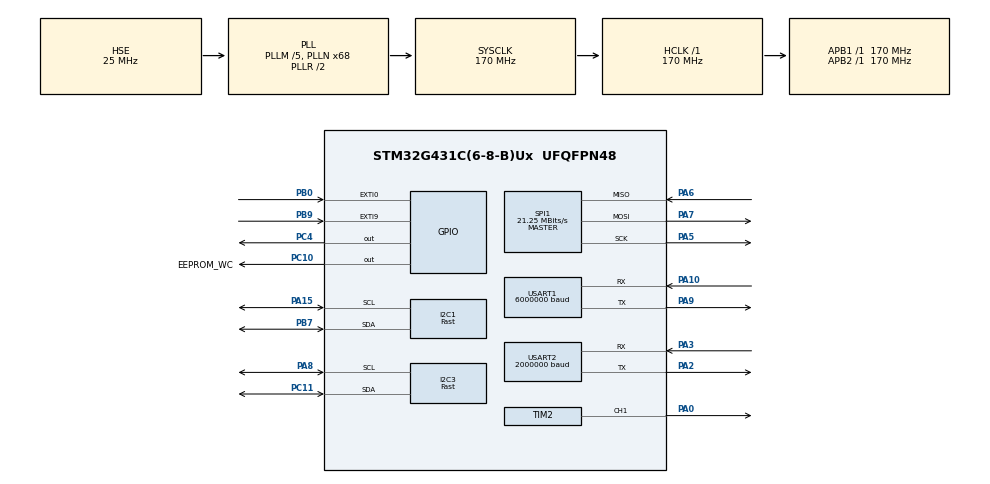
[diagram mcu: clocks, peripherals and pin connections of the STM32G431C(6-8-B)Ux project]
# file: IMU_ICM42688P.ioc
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Dma.Request0=USART1_RX
Dma.Request1=USART2_RX
Dma.USART1_RX.0.Direction=DMA_PERIPH_TO_MEMORY
Dma.USART1_RX.0.EventEnable=DISABLE
Dma.USART1_RX.0.Instance=DMA1_Channel1
Dma.USART1_RX.0.MemDataAlignment=DMA_MDATAALIGN_BYTE
Dma.USART1_RX.0.MemInc=DMA_MINC_ENABLE
Dma.USART1_RX.0.Mode=DMA_NORMAL
Dma.USART1_RX.0.PeriphDataAlignment=DMA_PDATAALIGN_BYTE
Dma.USART1_RX.0.PeriphInc=DMA_PINC_DISABLE
Dma.USART1_RX.0.Polarity=HAL_DMAMUX_REQ_GEN_RISING
Dma.USART1_RX.0.Priority=DMA_PRIORITY_LOW
Dma.USART1_RX.0.RequestNumber=1
Dma.USART1_RX.0.SignalID=NONE
Dma.USART1_RX.0.SyncEnable=DISABLE
Dma.USART1_RX.0.SyncPolarity=HAL_DMAMUX_SYNC_NO_EVENT
Dma.USART1_RX.0.SyncRequestNumber=1
Dma.USART1_RX.0.SyncSignalID=NONE
Dma.USART2_RX.1.Direction=DMA_PERIPH_TO_MEMORY
Dma.USART2_RX.1.EventEnable=DISABLE
Dma.USART2_RX.1.Instance=DMA1_Channel2
Dma.USART2_RX.1.MemDataAlignment=DMA_MDATAALIGN_BYTE
Dma.USART2_RX.1.MemInc=DMA_MINC_ENABLE
Dma.USART2_RX.1.Mode=DMA_NORMAL
Dma.USART2_RX.1.PeriphDataAlignment=DMA_PDATAALIGN_BYTE
Dma.USART2_RX.1.PeriphInc=DMA_PINC_DISABLE
Dma.USART2_RX.1.Polarity=HAL_DMAMUX_REQ_GEN_RISING
Dma.USART2_RX.1.Priority=DMA_PRIORITY_LOW
Dma.USART2_RX.1.RequestNumber=1
Dma.USART2_RX.1.SignalID=NONE
Dma.USART2_RX.1.SyncEnable=DISABLE
Dma.USART2_RX.1.SyncPolarity=HAL_DMAMUX_SYNC_NO_EVENT
Dma.USART2_RX.1.SyncRequestNumber=1
Dma.USART2_RX.1.SyncSignalID=NONE
I2C1.I2C_Speed_Mode=I2C_Fast
I2C1.Timing=0x40621236
I2C3.I2C_Speed_Mode=I2C_Fast
I2C3.Timing=0x40621236
Mcu.Family=STM32G4
Mcu.Name=STM32G431C(6-8-B)Ux
Mcu.Package=UFQFPN48
NVIC.DMA1_Channel1_IRQn=true\:0\:0\:false\:false\:true\:false\:true\:true
NVIC.DMA1_Channel2_IRQn=true\:0\:0\:false\:false\:true\:false\:true\:true
NVIC.EXTI0_IRQn=true\:0\:0\:false\:false\:true\:true\:true\:true
NVIC.EXTI9_5_IRQn=true\:0\:0\:false\:false\:true\:true\:true\:true
NVIC.PriorityGroup=NVIC_PRIORITYGROUP_4
NVIC.TIM3_IRQn=true\:0\:0\:false\:false\:true\:true\:true\:true
NVIC.USART1_IRQn=true\:0\:0\:false\:false\:true\:true\:true\:true
NVIC.USART2_IRQn=true\:0\:0\:false\:false\:true\:true\:true\:true
PA0.Signal=S_TIM2_CH1
PA10.Mode=Asynchronous
PA10.Signal=USART1_RX
PA13.Mode=Serial_Wire
PA13.Signal=SYS_JTMS-SWDIO
PA14.Mode=Serial_Wire
PA14.Signal=SYS_JTCK-SWCLK
PA15.Mode=I2C
PA15.Signal=I2C1_SCL
PA2.Mode=Asynchronous
PA2.Signal=USART2_TX
PA3.Mode=Asynchronous
PA3.Signal=USART2_RX
PA5.Mode=Full_Duplex_Master
PA5.Signal=SPI1_SCK
PA6.Mode=Full_Duplex_Master
PA6.Signal=SPI1_MISO
PA7.Mode=Full_Duplex_Master
PA7.Signal=SPI1_MOSI
PA8.Mode=I2C
PA8.Signal=I2C3_SCL
PA9.Mode=Asynchronous
PA9.Signal=USART1_TX
PB0.GPIO_ModeDefaultEXTI=GPIO_MODE_IT_FALLING
PB0.GPIO_PuPd=GPIO_PULLUP
PB0.Signal=GPXTI0
PB7.Mode=I2C
PB7.Signal=I2C1_SDA
PB9.Signal=GPXTI9
PC10.GPIO_Label=EEPROM_WC
PC10.Signal=GPIO_Output
PC11.Mode=I2C
PC11.Signal=I2C3_SDA
PC4.Signal=GPIO_Output
PF0-OSC_IN.Mode=HSE-External-Clock-Source
PF0-OSC_IN.Signal=RCC_OSC_IN
ProjectManager.HeapSize=0x200
ProjectManager.StackSize=0x400
ProjectManager.TargetToolchain=CMake
RCC.ADC12Freq_Value=170000000
RCC.AHBFreq_Value=170000000
RCC.APB1Freq_Value=170000000
RCC.APB1TimFreq_Value=170000000
RCC.APB2Freq_Value=170000000
RCC.APB2TimFreq_Value=170000000
RCC.CortexFreq_Value=170000000
RCC.EXTERNAL_CLOCK_VALUE=12288000
RCC.HCLKFreq_Value=170000000
RCC.HSE_VALUE=25000000
RCC.HSI48_VALUE=48000000
RCC.HSI_VALUE=16000000
RCC.LSE_VALUE=32768
RCC.PLLM=RCC_PLLM_DIV5
RCC.PLLN=68
RCC.PLLSourceVirtual=RCC_PLLSOURCE_HSE
RCC.PWR_Regulator_Voltage_Scale=PWR_REGULATOR_VOLTAGE_SCALE1_BOOST
RCC.SYSCLKFreq_VALUE=170000000
RCC.SYSCLKSource=RCC_SYSCLKSOURCE_PLLCLK
RCC.USBFreq_Value=170000000
RCC.VCOOutputFreq_Value=340000000
SH.S_TIM2_CH1.0=TIM2_CH1,PWM Generation1 CH1
SPI1.BaudRatePrescaler=SPI_BAUDRATEPRESCALER_8
SPI1.CLKPhase=SPI_PHASE_1EDGE
SPI1.CLKPolarity=SPI_POLARITY_LOW
SPI1.CalculateBaudRate=21.25 MBits/s
SPI1.DataSize=SPI_DATASIZE_8BIT
SPI1.Direction=SPI_DIRECTION_2LINES
SPI1.Mode=SPI_MODE_MASTER
SPI1.VirtualType=VM_MASTER
TIM2.Channel-PWM\ Generation1\ CH1=TIM_CHANNEL_1
TIM2.PeriodNoDither=5187
TIM2.Prescaler=0
TIM3.PeriodNoDither=65535
TIM3.Prescaler=170-1
USART1.BaudRate=6000000
USART1.VirtualMode-Asynchronous=VM_ASYNC
USART2.BaudRate=2000000
USART2.VirtualMode-Asynchronous=VM_ASYNC
VP_LPTIM1_VS_LPTIM_counterModeInternalClock.Mode=Counts__internal_clock_event_00
VP_SYS_VS_DBSignals.Mode=DisableDeadBatterySignals
VP_TIM3_VS_ClockSourceINT.Mode=Internal
board=custom

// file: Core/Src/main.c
/* USER CODE BEGIN Header */
/**
 ******************************************************************************
 * @file           : main.c
 * @brief          : Main program body
 ******************************************************************************
 * @attention
 *
 * Copyright (c) 2024 STMicroelectronics.
 * All rights reserved.
 *
 * This software is licensed under terms that can be found in the LICENSE file
 * in the root directory of this software component.
 * If no LICENSE file comes with this software, it is provided AS-IS.
 *
 ******************************************************************************
 */
/* USER CODE END Header */
#include "main.h"

/* USER CODE BEGIN Includes */
#include "ICM-42688P.h"
#include "ICM42688P_Config.h"
#include "IMU.h"
// #include "ICM42688P_Test.h"  // 测试程序（需要时取消注释）
#include "stm32g4xx_hal_uart.h"
#include <stdint.h>
#include <stdio.h>
#include <string.h>

/* USER CODE END Includes */

I2C_HandleTypeDef hi2c1;
I2C_HandleTypeDef hi2c3;

LPTIM_HandleTypeDef hlptim1;

SPI_HandleTypeDef hspi1;

TIM_HandleTypeDef htim2;
TIM_HandleTypeDef htim3;

UART_HandleTypeDef huart1;
UART_HandleTypeDef huart2;
DMA_HandleTypeDef hdma_usart1_rx;
DMA_HandleTypeDef hdma_usart2_rx;

void SystemClock_Config(void);
static void MX_GPIO_Init(void);
static void MX_DMA_Init(void);
static void MX_SPI1_Init(void);
static void MX_TIM2_Init(void);
static void MX_USART1_UART_Init(void);
static void MX_USART2_UART_Init(void);
static void MX_TIM3_Init(void);
static void MX_I2C1_Init(void);
static void MX_I2C3_Init(void);
static void MX_LPTIM1_Init(void);

/* USER CODE BEGIN 0 */
unsigned char timertag = 0;
unsigned char txbuffer[200], rxhandledata[100];
uint64_t timestamp = 0, previousTimestamp = 0;
IMU_Data imudata;
uint16_t timer_count = 0;
// 测试用配置结构体（需要运行测试时取消注释）
ICM42688P_Config ReadAllConfig;
ICM42688P_Config TestConfig;

void HAL_UARTEx_RxEventCallback(UART_HandleTypeDef *huart, uint16_t Size)
{
    if (huart == &huart1)
    {
        // TODO: 实现新的数据输出逻辑
    }
    else if (huart == &huart2)
    {
        // TODO: 实现新的数据输出逻辑
    }
}

/* USER CODE END 0 */

int main(void)
{

  /* USER CODE BEGIN 1 */
    // uint8_t rxbuffer[10];
    // uint8_t txbuffer[100];
    // uint8_t databuffer = 5;
    // uint8_t cont = 0;
    // float valx = 0.0f, valy = 0.0f, valz = 0.0f;
    // uint16_t timer_count = 0;
    // uint8_t rx[12];
    // 测试用变量（需要运行测试时取消注释）
    uint8_t regbuffer[4096];
    uint16_t size = 0;

  /* USER CODE END 1 */

  /* MCU Configuration--------------------------------------------------------*/

  /* Reset of all peripherals, Initializes the Flash interface and the Systick. */
  HAL_Init();

  /* Configure the system clock */
  SystemClock_Config();

  /* Initialize all configured peripherals */
  MX_GPIO_Init();
  MX_DMA_Init();
  MX_SPI1_Init();
  MX_TIM2_Init();
  MX_USART1_UART_Init();
  MX_USART2_UART_Init();
  MX_TIM3_Init();
  MX_I2C1_Init();
  MX_I2C3_Init();
  MX_LPTIM1_Init();
  /* USER CODE BEGIN 2 */
    cs_high();
    HAL_NVIC_DisableIRQ(EXTI0_IRQn);
    HAL_NVIC_DisableIRQ(EXTI9_5_IRQn);
    IMU_Set_UART(&huart1);
    HAL_TIM_PWM_Start(&htim2, TIM_CHANNEL_1);
    __HAL_TIM_SET_COMPARE(&htim2, TIM_CHANNEL_1, 2594);
    HAL_TIM_Base_Start(&htim3);

    HAL_UARTEx_ReceiveToIdle_DMA(&huart1, rxhandledata, 40);
    __HAL_DMA_DISABLE_IT(&hdma_usart1_rx, DMA_IT_HT);
    HAL_UARTEx_ReceiveToIdle_DMA(&huart2, rxhandledata, 40);
    __HAL_DMA_DISABLE_IT(&hdma_usart2_rx, DMA_IT_HT);

    // ICM42688P_Init();
    // HAL_Delay(10);
    if (IMU_Init() == 0)
    {
        HAL_UART_Transmit(&huart1, (const unsigned char *)"ICM42688P Init Success\n", strlen("ICM42688P Init Success\n"), 0xff);
    }
    else
    {
        HAL_UART_Transmit(&huart1, (const unsigned char *)"ICM42688P Init Failed\n", strlen("ICM42688P Init Failed\n"), 0xff);
    }

    // ========================================================================
    // 测试程序（需要验证库修改时取消注释）
    // 测试文件: Core/Src/ICM42688P_Test.c
    // 存档位置: doc/tests/
    // ========================================================================
    // HAL_UART_Transmit(&huart2, (const unsigned char *)"\r\n启动测试验证...\r\n",
    //                   strlen("\r\n启动测试验证...\r\n"), 1000);
    // HAL_Delay(100);
    //
    // // 运行完整测试（如需快速验证可改为 ICM42688P_RunQuickTest）
    // ICM42688P_RunAllTests();
    //
    // // 可选：打印最终配置状态
    // ICM42688P_ReadAllConfigRegisters(&ReadAllConfig);
    // size = ICM42688P_FormatRegisters(&ReadAllConfig, (char *)regbuffer, 4096);
    // HAL_UART_Transmit(&huart1, (const unsigned char *)"\r\n=== 最终配置状态 ===\r\n",
    //                   strlen("\r\n=== 最终配置状态 ===\r\n"), 1000);
    // HAL_UART_Transmit(&huart1, (const unsigned char *)regbuffer, size, 1000);

    HAL_NVIC_EnableIRQ(EXTI0_IRQn);
    HAL_NVIC_EnableIRQ(EXTI9_5_IRQn);
    // ========================================================================

    // ICM42688P_ReadIMUData(&imudata);

    // HAL_TIM_Base_Start_IT(&htim3);

    // ICM42688P_Bank_Select(0);
    // timer_count = __HAL_TIM_GET_COUNTER(&htim3);
    // //ICM42688P_Software_Reset();
    // //ICM42688P_ReadIMUData(&imudata);
    // ICM42688P_ReadRegister(0x1F, rx, 20);
    // timer_count = __HAL_TIM_GET_COUNTER(&htim3) - timer_count;
    // sprintf((char *)txbuffer, "Software Reset Time:%d us\n", timer_count);
    // HAL_UART_Transmit(&huart2, (const unsigned char *)txbuffer, strlen((const char *)txbuffer), 0xff);
  /* USER CODE END 2 */

  /* Infinite loop */
  /* USER CODE BEGIN WHILE */
    while (1)
    {
        // ========================================================================
        // 统一的IMU+磁力计数据采集输出（中断驱动模式）
        // ICM42688P中断：EXTI0_IRQHandler → IMU_InterruptHandle() [1kHz]
        // BMM350中断：EXTI9_5_IRQHandler → IMU_MagInterruptHandle() [400Hz]
        // ========================================================================
        // if (timertag == 1) {
        //     // ICM42688P数据就绪（1kHz），准备发送数据包

        //     // 检查是否有新的磁力计数据
        //     if (imudata.mag_data_ready) {
        //         // 有新的磁力计数据，清除标志
        //         imudata.mag_data_ready = 0;
        //     } else {
        //         // 无新磁力计数据，将磁力计字段置0
        //         imudata.mag_x = 0.0f;
        //         imudata.mag_y = 0.0f;
        //         imudata.mag_z = 0.0f;
        //         imudata.mag_temperature = 0.0f;
        //         imudata.mag_timestamp = 0;
        //     }

        //     // 格式化IMU+磁力计数据输出
        //     // 格式: "IMU:ax,ay,az,gx,gy,gz,temp,imu_ts,mx,my,mz,mag_temp,mag_ts\r\n"
        //     int len = sprintf((char *)txbuffer,
        //                    "IMU:%.6f,%.6f,%.6f,%.6f,%.6f,%.6f,%.2f,%u,%.2f,%.2f,%.2f,%.2f,%u\r\n",
        //                    imudata.accel_x,        // 加速度 X (g)
        //                    imudata.accel_y,        // 加速度 Y (g)
        //                    imudata.accel_z,        // 加速度 Z (g)
        //                    imudata.gyro_x,         // 陀螺仪 X (dps)
        //                    imudata.gyro_y,         // 陀螺仪 Y (dps)
        //                    imudata.gyro_z,         // 陀螺仪 Z (dps)
        //                    imudata.temperature,    // IMU温度 (°C)
        //                    imudata.timestamp,      // IMU时间戳 (μs)
        //                    imudata.mag_x,          // 磁场 X (μT)
        //                    imudata.mag_y,          // 磁场 Y (μT)
        //                    imudata.mag_z,          // 磁场 Z (μT)
        //                    imudata.mag_temperature,// 磁力计温度 (°C)
        //                    imudata.mag_timestamp); // 磁力计时间戳 (μs)

        //     // 通过 UART1 发送数据
        //     HAL_UART_Transmit(&huart1, txbuffer, len, 0xff);

        //     // 清除标志
        //     timertag = 0;
        // }
        // ========================================================================
        // HAL_UART_Transmit(&huart1, (const unsigned char *)"Hello, World!", 13, 0xff);
        // HAL_Delay(100);

        // sprintf((char *)txbuffer, "Temperature:%f\n",
        // ICM42688P_GetTemperature()); HAL_UART_Transmit(&huart2, (const unsigned
        // char *)txbuffer,
        //                   strlen((const char *)txbuffer), 0xff);
        // HAL_Delay(100);
        // if (timertag == 1) {
        //   cont++;
        //   // valx += imudata.gyro_x;
        //   // valy += imudata.gyro_y;
        //   // valz += imudata.gyro_z;
        //   valx += imudata.accel_x;
        //   valy += imudata.accel_y;
        //   valz += imudata.accel_z;
        //   if (cont == 255) {

        //     valx /= 256;
        //     valy /= 256;
        //     valz /= 256;
        //     sprintf((char *)txbuffer, "IMUData:%f,%f,%f\n", valx, valy, valz);
        //     HAL_UART_Transmit(&huart2, (const unsigned char *)txbuffer,
        //                       strlen((const char *)txbuffer), 0xff);
        //     cont = 0;
        //     valx = 0;
        //   }
        //   // sprintf((char *)txbuffer, "IMUData:%lf,%lf,%lf,%lf\n", imudata.q0,
        //   //         imudata.q1, imudata.q2, imudata.q3);
        //   // HAL_UART_Transmit(&huart2, (const unsigned char *)txbuffer,
        //   //                   strlen((const char *)txbuffer), 0xff);
        // }
        // HAL_UART_Transmit(&huart2, (const uint8_t *)"Hello, World!", 13, 0xff);
        // HAL_Delay(100);
        // ICM42688P_ReadIMUData(&imudata);

    /* USER CODE END WHILE */

    }
}

void SystemClock_Config(void)
{
  RCC_OscInitTypeDef RCC_OscInitStruct = {0};
  RCC_ClkInitTypeDef RCC_ClkInitStruct = {0};

  /** Configure the main internal regulator output voltage
  */
  HAL_PWREx_ControlVoltageScaling(PWR_REGULATOR_VOLTAGE_SCALE1_BOOST);

  /** Initializes the RCC Oscillators according to the specified parameters
  * in the RCC_OscInitTypeDef structure.
  */
  RCC_OscInitStruct.OscillatorType = RCC_OSCILLATORTYPE_HSE;
  RCC_OscInitStruct.HSEState = RCC_HSE_BYPASS;
  RCC_OscInitStruct.PLL.PLLState = RCC_PLL_ON;
  RCC_OscInitStruct.PLL.PLLSource = RCC_PLLSOURCE_HSE;
  RCC_OscInitStruct.PLL.PLLM = RCC_PLLM_DIV5;
  RCC_OscInitStruct.PLL.PLLN = 68;
  RCC_OscInitStruct.PLL.PLLP = RCC_PLLP_DIV2;
  RCC_OscInitStruct.PLL.PLLQ = RCC_PLLQ_DIV2;
  RCC_OscInitStruct.PLL.PLLR = RCC_PLLR_DIV2;
  if (HAL_RCC_OscConfig(&RCC_OscInitStruct) != HAL_OK)
  {
    Error_Handler();
  }

  /** Initializes the CPU, AHB and APB buses clocks
  */
  RCC_ClkInitStruct.ClockType = RCC_CLOCKTYPE_HCLK|RCC_CLOCKTYPE_SYSCLK
                              |RCC_CLOCKTYPE_PCLK1|RCC_CLOCKTYPE_PCLK2;
  RCC_ClkInitStruct.SYSCLKSource = RCC_SYSCLKSOURCE_PLLCLK;
  RCC_ClkInitStruct.AHBCLKDivider = RCC_SYSCLK_DIV1;
  RCC_ClkInitStruct.APB1CLKDivider = RCC_HCLK_DIV1;
  RCC_ClkInitStruct.APB2CLKDivider = RCC_HCLK_DIV1;

  if (HAL_RCC_ClockConfig(&RCC_ClkInitStruct, FLASH_LATENCY_4) != HAL_OK)
  {
    Error_Handler();
  }
}

static void MX_I2C1_Init(void)
{

  hi2c1.Instance = I2C1;
  hi2c1.Init.Timing = 0x40621236;
  hi2c1.Init.OwnAddress1 = 0;
  hi2c1.Init.AddressingMode = I2C_ADDRESSINGMODE_7BIT;
  hi2c1.Init.DualAddressMode = I2C_DUALADDRESS_DISABLE;
  hi2c1.Init.OwnAddress2 = 0;
  hi2c1.Init.OwnAddress2Masks = I2C_OA2_NOMASK;
  hi2c1.Init.GeneralCallMode = I2C_GENERALCALL_DISABLE;
  hi2c1.Init.NoStretchMode = I2C_NOSTRETCH_DISABLE;
  if (HAL_I2C_Init(&hi2c1) != HAL_OK)
  {
    Error_Handler();
  }

  /** Configure Analogue filter
  */
  if (HAL_I2CEx_ConfigAnalogFilter(&hi2c1, I2C_ANALOGFILTER_ENABLE) != HAL_OK)
  {
    Error_Handler();
  }

  /** Configure Digital filter
  */
  if (HAL_I2CEx_ConfigDigitalFilter(&hi2c1, 0) != HAL_OK)
  {
    Error_Handler();
  }

}

static void MX_I2C3_Init(void)
{

  hi2c3.Instance = I2C3;
  hi2c3.Init.Timing = 0x40621236;
  hi2c3.Init.OwnAddress1 = 0;
  hi2c3.Init.AddressingMode = I2C_ADDRESSINGMODE_7BIT;
  hi2c3.Init.DualAddressMode = I2C_DUALADDRESS_DISABLE;
  hi2c3.Init.OwnAddress2 = 0;
  hi2c3.Init.OwnAddress2Masks = I2C_OA2_NOMASK;
  hi2c3.Init.GeneralCallMode = I2C_GENERALCALL_DISABLE;
  hi2c3.Init.NoStretchMode = I2C_NOSTRETCH_DISABLE;
  if (HAL_I2C_Init(&hi2c3) != HAL_OK)
  {
    Error_Handler();
  }

  /** Configure Analogue filter
  */
  if (HAL_I2CEx_ConfigAnalogFilter(&hi2c3, I2C_ANALOGFILTER_ENABLE) != HAL_OK)
  {
    Error_Handler();
  }

  /** Configure Digital filter
  */
  if (HAL_I2CEx_ConfigDigitalFilter(&hi2c3, 0) != HAL_OK)
  {
    Error_Handler();
  }

}

static void MX_LPTIM1_Init(void)
{

  hlptim1.Instance = LPTIM1;
  hlptim1.Init.Clock.Source = LPTIM_CLOCKSOURCE_APBCLOCK_LPOSC;
  hlptim1.Init.Clock.Prescaler = LPTIM_PRESCALER_DIV1;
  hlptim1.Init.Trigger.Source = LPTIM_TRIGSOURCE_SOFTWARE;
  hlptim1.Init.OutputPolarity = LPTIM_OUTPUTPOLARITY_HIGH;
  hlptim1.Init.UpdateMode = LPTIM_UPDATE_IMMEDIATE;
  hlptim1.Init.CounterSource = LPTIM_COUNTERSOURCE_INTERNAL;
  hlptim1.Init.Input1Source = LPTIM_INPUT1SOURCE_GPIO;
  hlptim1.Init.Input2Source = LPTIM_INPUT2SOURCE_GPIO;
  if (HAL_LPTIM_Init(&hlptim1) != HAL_OK)
  {
    Error_Handler();
  }

}

static void MX_SPI1_Init(void)
{

  /* SPI1 parameter configuration*/
  hspi1.Instance = SPI1;
  hspi1.Init.Mode = SPI_MODE_MASTER;
  hspi1.Init.Direction = SPI_DIRECTION_2LINES;
  hspi1.Init.DataSize = SPI_DATASIZE_8BIT;
  hspi1.Init.CLKPolarity = SPI_POLARITY_LOW;
  hspi1.Init.CLKPhase = SPI_PHASE_1EDGE;
  hspi1.Init.NSS = SPI_NSS_SOFT;
  hspi1.Init.BaudRatePrescaler = SPI_BAUDRATEPRESCALER_8;
  hspi1.Init.FirstBit = SPI_FIRSTBIT_MSB;
  hspi1.Init.TIMode = SPI_TIMODE_DISABLE;
  hspi1.Init.CRCCalculation = SPI_CRCCALCULATION_DISABLE;
  hspi1.Init.CRCPolynomial = 7;
  hspi1.Init.CRCLength = SPI_CRC_LENGTH_DATASIZE;
  hspi1.Init.NSSPMode = SPI_NSS_PULSE_ENABLE;
  if (HAL_SPI_Init(&hspi1) != HAL_OK)
  {
    Error_Handler();
  }
  /* USER CODE BEGIN SPI1_Init 2 */

  // 启用SPI外设（LL库需要手动启用）

  /* USER CODE END SPI1_Init 2 */

}

static void MX_TIM2_Init(void)
{

  TIM_MasterConfigTypeDef sMasterConfig = {0};
  TIM_OC_InitTypeDef sConfigOC = {0};

  htim2.Instance = TIM2;
  htim2.Init.Prescaler = 0;
  htim2.Init.CounterMode = TIM_COUNTERMODE_UP;
  htim2.Init.Period = 5187;
  htim2.Init.ClockDivision = TIM_CLOCKDIVISION_DIV1;
  htim2.Init.AutoReloadPreload = TIM_AUTORELOAD_PRELOAD_DISABLE;
  if (HAL_TIM_PWM_Init(&htim2) != HAL_OK)
  {
    Error_Handler();
  }
  sMasterConfig.MasterOutputTrigger = TIM_TRGO_RESET;
  sMasterConfig.MasterSlaveMode = TIM_MASTERSLAVEMODE_DISABLE;
  if (HAL_TIMEx_MasterConfigSynchronization(&htim2, &sMasterConfig) != HAL_OK)
  {
    Error_Handler();
  }
  sConfigOC.OCMode = TIM_OCMODE_PWM1;
  sConfigOC.Pulse = 0;
  sConfigOC.OCPolarity = TIM_OCPOLARITY_HIGH;
  sConfigOC.OCFastMode = TIM_OCFAST_DISABLE;
  if (HAL_TIM_PWM_ConfigChannel(&htim2, &sConfigOC, TIM_CHANNEL_1) != HAL_OK)
  {
    Error_Handler();
  }
  HAL_TIM_MspPostInit(&htim2);

}

static void MX_TIM3_Init(void)
{

  TIM_ClockConfigTypeDef sClockSourceConfig = {0};
  TIM_MasterConfigTypeDef sMasterConfig = {0};

  htim3.Instance = TIM3;
  htim3.Init.Prescaler = 170-1;
  htim3.Init.CounterMode = TIM_COUNTERMODE_UP;
  htim3.Init.Period = 65535;
  htim3.Init.ClockDivision = TIM_CLOCKDIVISION_DIV1;
  htim3.Init.AutoReloadPreload = TIM_AUTORELOAD_PRELOAD_DISABLE;
  if (HAL_TIM_Base_Init(&htim3) != HAL_OK)
  {
    Error_Handler();
  }
  sClockSourceConfig.ClockSource = TIM_CLOCKSOURCE_INTERNAL;
  if (HAL_TIM_ConfigClockSource(&htim3, &sClockSourceConfig) != HAL_OK)
  {
    Error_Handler();
  }
  sMasterConfig.MasterOutputTrigger = TIM_TRGO_RESET;
  sMasterConfig.MasterSlaveMode = TIM_MASTERSLAVEMODE_DISABLE;
  if (HAL_TIMEx_MasterConfigSynchronization(&htim3, &sMasterConfig) != HAL_OK)
  {
    Error_Handler();
  }

}

static void MX_USART1_UART_Init(void)
{

  huart1.Instance = USART1;
  huart1.Init.BaudRate = 6000000;
  huart1.Init.WordLength = UART_WORDLENGTH_8B;
  huart1.Init.StopBits = UART_STOPBITS_1;
  huart1.Init.Parity = UART_PARITY_NONE;
  huart1.Init.Mode = UART_MODE_TX_RX;
  huart1.Init.HwFlowCtl = UART_HWCONTROL_NONE;
  huart1.Init.OverSampling = UART_OVERSAMPLING_16;
  huart1.Init.OneBitSampling = UART_ONE_BIT_SAMPLE_DISABLE;
  huart1.Init.ClockPrescaler = UART_PRESCALER_DIV1;
  huart1.AdvancedInit.AdvFeatureInit = UART_ADVFEATURE_NO_INIT;
  if (HAL_UART_Init(&huart1) != HAL_OK)
  {
    Error_Handler();
  }
  if (HAL_UARTEx_SetTxFifoThreshold(&huart1, UART_TXFIFO_THRESHOLD_1_8) != HAL_OK)
  {
    Error_Handler();
  }
  if (HAL_UARTEx_SetRxFifoThreshold(&huart1, UART_RXFIFO_THRESHOLD_1_8) != HAL_OK)
  {
    Error_Handler();
  }
  if (HAL_UARTEx_DisableFifoMode(&huart1) != HAL_OK)
  {
    Error_Handler();
  }

}

static void MX_USART2_UART_Init(void)
{

  huart2.Instance = USART2;
  huart2.Init.BaudRate = 2000000;
  huart2.Init.WordLength = UART_WORDLENGTH_8B;
  huart2.Init.StopBits = UART_STOPBITS_1;
  huart2.Init.Parity = UART_PARITY_NONE;
  huart2.Init.Mode = UART_MODE_TX_RX;
  huart2.Init.HwFlowCtl = UART_HWCONTROL_NONE;
  huart2.Init.OverSampling = UART_OVERSAMPLING_16;
  huart2.Init.OneBitSampling = UART_ONE_BIT_SAMPLE_DISABLE;
  huart2.Init.ClockPrescaler = UART_PRESCALER_DIV1;
  huart2.AdvancedInit.AdvFeatureInit = UART_ADVFEATURE_NO_INIT;
  if (HAL_UART_Init(&huart2) != HAL_OK)
  {
    Error_Handler();
  }
  if (HAL_UARTEx_SetTxFifoThreshold(&huart2, UART_TXFIFO_THRESHOLD_1_8) != HAL_OK)
  {
    Error_Handler();
  }
  if (HAL_UARTEx_SetRxFifoThreshold(&huart2, UART_RXFIFO_THRESHOLD_1_8) != HAL_OK)
  {
    Error_Handler();
  }
  if (HAL_UARTEx_DisableFifoMode(&huart2) != HAL_OK)
  {
    Error_Handler();
  }

}

static void MX_DMA_Init(void)
{

  /* DMA controller clock enable */
  __HAL_RCC_DMAMUX1_CLK_ENABLE();
  __HAL_RCC_DMA1_CLK_ENABLE();

  /* DMA interrupt init */
  /* DMA1_Channel1_IRQn interrupt configuration */
  HAL_NVIC_SetPriority(DMA1_Channel1_IRQn, 0, 0);
  HAL_NVIC_EnableIRQ(DMA1_Channel1_IRQn);
  /* DMA1_Channel2_IRQn interrupt configuration */
  HAL_NVIC_SetPriority(DMA1_Channel2_IRQn, 0, 0);
  HAL_NVIC_EnableIRQ(DMA1_Channel2_IRQn);

}

static void MX_GPIO_Init(void)
{
  GPIO_InitTypeDef GPIO_InitStruct = {0};

  /* GPIO Ports Clock Enable */
  __HAL_RCC_GPIOF_CLK_ENABLE();
  __HAL_RCC_GPIOA_CLK_ENABLE();
  __HAL_RCC_GPIOC_CLK_ENABLE();
  __HAL_RCC_GPIOB_CLK_ENABLE();

  /*Configure GPIO pin Output Level */
  HAL_GPIO_WritePin(GPIOC, GPIO_PIN_4|EEPROM_WC_Pin, GPIO_PIN_RESET);

  /*Configure GPIO pins : PC4 EEPROM_WC_Pin */
  GPIO_InitStruct.Pin = GPIO_PIN_4|EEPROM_WC_Pin;
  GPIO_InitStruct.Mode = GPIO_MODE_OUTPUT_PP;
  GPIO_InitStruct.Pull = GPIO_NOPULL;
  GPIO_InitStruct.Speed = GPIO_SPEED_FREQ_LOW;
  HAL_GPIO_Init(GPIOC, &GPIO_InitStruct);

  /*Configure GPIO pin : PB0 */
  GPIO_InitStruct.Pin = GPIO_PIN_0;
  GPIO_InitStruct.Mode = GPIO_MODE_IT_FALLING;
  GPIO_InitStruct.Pull = GPIO_PULLUP;
  HAL_GPIO_Init(GPIOB, &GPIO_InitStruct);

  /*Configure GPIO pin : PB9 */
  GPIO_InitStruct.Pin = GPIO_PIN_9;
  GPIO_InitStruct.Mode = GPIO_MODE_IT_RISING;
  GPIO_InitStruct.Pull = GPIO_NOPULL;
  HAL_GPIO_Init(GPIOB, &GPIO_InitStruct);

  /* EXTI interrupt init*/
  HAL_NVIC_SetPriority(EXTI0_IRQn, 0, 0);
  HAL_NVIC_EnableIRQ(EXTI0_IRQn);

  HAL_NVIC_SetPriority(EXTI9_5_IRQn, 0, 0);
  HAL_NVIC_EnableIRQ(EXTI9_5_IRQn);

}

void Error_Handler(void)
{
    __disable_irq();
    while (1)
    {
    }
}
#ifdef USE_FULL_ASSERT
/**
  * @brief  Reports the name of the source file and the source line number
  *         where the assert_param error has occurred.
  * @param  file: pointer to the source file name
  * @param  line: assert_param error line source number
  * @retval None
  */
void assert_failed(uint8_t *file, uint32_t line)
{
  /* USER CODE BEGIN 6 */
    /* User can add his own implementation to report the file name and line
       number, ex: printf("Wrong parameters value: file %s on line %d\r\n", file,
       line) */
  /* USER CODE END 6 */
}
#endif /* USE_FULL_ASSERT */
